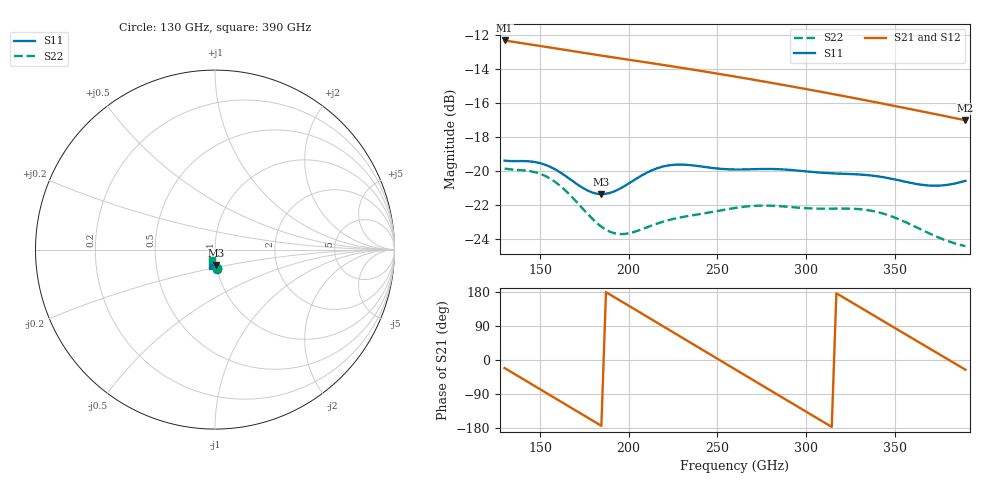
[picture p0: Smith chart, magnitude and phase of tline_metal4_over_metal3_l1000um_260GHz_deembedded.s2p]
! Created with skrf 2.0.1 (http://scikit-rf.org).
# GHz S DB R 50.0
!freq dBS11 angS11 dBS21 angS21 dBS12 angS12 dBS22 angS22
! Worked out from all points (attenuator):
!   101 points, 130 GHz to 390 GHz, reference 50 ohm
!   highest |S21| = -12.34 dB at 130 GHz (marker M1); lowest = -17.0 dB at 390 GHz (marker M2)
!   lowest |S11| = -21.4 dB at 184.6 GHz (marker M3), VSWR 1.19, Z = 50.1 - j8.59 ohm
!   |S11| at or under -10 dB: start of sweep to end of sweep
!   |S22| runs from -24.4 to -19.9 dB; largest |S21 - S12| = 2.7e-13
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130  -19.39 -84.6  -12.34 -21.3  -12.34 -21.3  -19.85 -84.9
143  -19.42 -84.8  -12.55 -57.5  -12.55 -57.5  -19.99 -86.0
153.4  -19.65 -87.5  -12.72 -86.6  -12.72 -86.6  -20.31 -89.8
163.8  -20.25 -89.7  -12.89 -115.6  -12.89 -115.6  -21.09 -93.7
174.2  -20.99 -88.7  -13.06 -144.7  -13.06 -144.7  -22.22 -94.9
184.6  -21.36 -84.6  -13.23 -173.7  -13.23 -173.7  -23.27 -91.8
200.2  -20.72 -79.9  -13.47 142.7  -13.47 142.7  -23.65 -83.6
210.6  -20.08 -81.1  -13.64 113.7  -13.64 113.7  -23.29 -80.8
218.4  -19.76 -83.5  -13.76 91.9  -13.76 91.9  -23.01 -80.4
228.8  -19.62 -87.3  -13.93 62.8  -13.93 62.8  -22.73 -81.2
241.8  -19.75 -90.9  -14.14 26.4  -14.14 26.4  -22.50 -82.5
260  -19.91 -93.3  -14.46 -24.4  -14.46 -24.4  -22.17 -85.4
270.4  -19.89 -94.6  -14.64 -53.4  -14.64 -53.4  -22.05 -87.9
280.8  -19.88 -96.4  -14.83 -82.5  -14.83 -82.5  -22.04 -90.5
291.2  -19.94 -98.1  -15.02 -111.5  -15.02 -111.5  -22.11 -92.9
304.2  -20.06 -99.8  -15.27 -147.7  -15.27 -147.7  -22.20 -95.2
322.4  -20.17 -101.6  -15.62 161.7  -15.62 161.7  -22.20 -98.9
335.4  -20.25 -103.1  -15.88 125.6  -15.88 125.6  -22.30 -102.7
348.4  -20.46 -104.5  -16.15 89.5  -16.15 89.5  -22.66 -106.6
358.8  -20.69 -104.6  -16.36 60.7  -16.36 60.7  -23.12 -108.8
371.8  -20.86 -103.1  -16.64 24.7  -16.64 24.7  -23.76 -109.6
390  -20.57 -100.7  -17.02 -25.6  -17.02 -25.6  -24.41 -107.9
